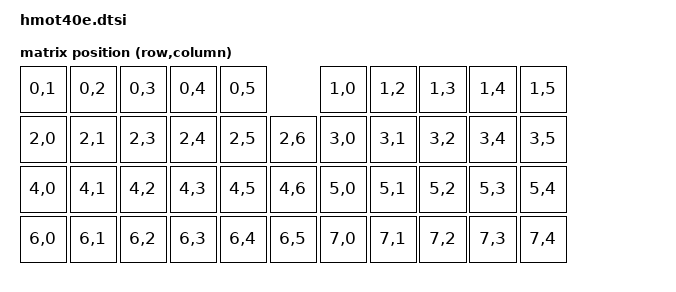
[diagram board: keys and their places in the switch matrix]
#include <dt-bindings/zmk/matrix_transform.h>
#include <behaviors/rgbled_widget.dtsi>

/ {
	kscan0: kscan {
		compatible = "zmk,kscan-gpio-charlieplex";
        interrupt-gpios = <&xiao_d 6 (GPIO_ACTIVE_HIGH | GPIO_PULL_DOWN)>;
        gpios
            = <&xiao_d 3 (GPIO_ACTIVE_HIGH)>
            , <&xiao_d 10 (GPIO_ACTIVE_HIGH)>
            , <&xiao_d 2 (GPIO_ACTIVE_HIGH)>
            , <&xiao_d 9 (GPIO_ACTIVE_HIGH)>
            , <&xiao_d 1 (GPIO_ACTIVE_HIGH)>
            , <&xiao_d 8 (GPIO_ACTIVE_HIGH)>
            , <&xiao_d 0 (GPIO_ACTIVE_HIGH)>
            , <&xiao_d 7 (GPIO_ACTIVE_HIGH)>
            ;
    };

	default_transform: keymap_transform_0 {
		compatible = "zmk,matrix-transform";
		columns = <7>;
		rows = <8>;
		
		map = <
		RC(0,1) RC(0,2) RC(0,3) RC(0,4) RC(0,5)         RC(1,0) RC(1,2) RC(1,3) RC(1,4) RC(1,5)
		RC(2,0) RC(2,1) RC(2,3) RC(2,4) RC(2,5) RC(2,6) RC(3,0) RC(3,1) RC(3,2) RC(3,4) RC(3,5)
		RC(4,0) RC(4,1) RC(4,2) RC(4,3) RC(4,5) RC(4,6) RC(5,0) RC(5,1) RC(5,2) RC(5,3) RC(5,4)
		RC(6,0) RC(6,1) RC(6,2) RC(6,3) RC(6,4) RC(6,5) RC(7,0) RC(7,1) RC(7,2) RC(7,3) RC(7,4)
		>;
	};
    
    aliases {
        led-red = &led0;
        led-green = &led1;
        led-blue = &led2;
    };

    leds {
        compatible = "gpio-leds";
        status = "okay";
        led0: led_0 {
            gpios = <&gpio0 26 GPIO_ACTIVE_LOW>;  // red LED, connected to P0.26
        };
        led1: led_1 {
            gpios = <&gpio0 30 GPIO_ACTIVE_LOW>;  // green LED, connected to P0.30
        };
        led2: led_2 {
            gpios = <&gpio0 6 GPIO_ACTIVE_LOW>;  // blue LED, connected to P0.06
        };
    };

};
